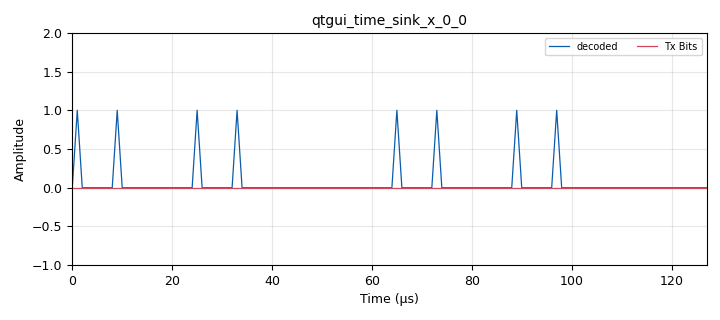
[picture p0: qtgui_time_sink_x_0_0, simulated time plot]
options:
  parameters:
    author: iar
    generate_options: qt_gui
    id: random_bits
    output_language: python
    title: Random Bits
  states: {}

blocks:
- name: SHA160
  id: variable
  parameters:
    comment: Binary of SHA1-160 bits(I am a leigitimate device)
    value: '[1,0,1,1,0,1,1,0,1,1,1,1,1,1,0,0,1,0,1,1,0,1,0,1,1,1,1,0,1,0,1,1,0,1,1,0,1,1,1,1,1,1,0,1,0,1,1,1,0,1,0,1,1,1,1,1,1,0,0,1,1,0,0,0,0,0,0,0,0,1,0,1,0,1,1,1,1,1,0,0,0,1,0,1,1,1,0,1,1,0,0,0,1,1,0,0,1,1,1,1,1,1,0,1,1,1,0,0,1,0,0,0,0,1,0,0,0,0,0,0,1,1,0,0,0,0,0,1,0,1,1,1,0,1,0,1,0,0,1,0,0,0,1,1,1,0,1,1,0,0,0,1,1,0,1,1,0,0,0,1]'
  states: {}
- name: SHA160_10
  id: variable
  parameters:
    comment: Binary of SHA1-160 bits(I am a leigitimate device)
    value: '[1,0,1,1,1,1,1,0,1,1,1,1,1,1,0,0,1,0,1,1,0,1,0,1,1,1,1,0,1,0,1,1,0,1,1,0,1,1,1,1,1,1,0,1,0,1,1,1,0,1,0,1,1,1,1,1,1,0,0,1,1,0,1,0,0,0,0,1,0,1,0,1,0,1,1,1,1,1,0,0,0,1,0,1,1,1,0,1,1,0,0,0,1,1,0,0,1,1,1,1,1,1,0,1,1,1,0,0,1,0,0,0,0,1,0,1,0,0,1,0,1,1,0,1,0,0,1,1,0,1,1,1,0,1,0,1,0,0,1,0,1,0,1,1,1,0,1,1,0,0,0,1,1,0,1,1,0,1,1,1]'
  states: {}
- name: SHA160_160
  id: variable
  parameters:
    comment: Binary of SHA1-160 bits(I am a leigitimate device)
    value: '[0]*100+[1]*30+[0]*30'
  states: {}
- name: SHA160_20
  id: variable
  parameters:
    comment: Binary of SHA1-160 bits(I am a leigitimate device)
    value: '[1,0,1,1,0,1,1,1,1,1,1,1,1,1,1,1,1,0,1,1,0,1,0,1,1,1,1,0,1,1,1,1,0,1,1,1,1,1,1,1,1,1,1,1,0,1,1,1,0,1,0,1,1,1,1,1,1,0,1,1,1,0,1,1,0,1,1,0,0,1,0,1,0,1,1,1,1,1,0,1,0,1,0,1,1,1,0,1,1,0,1,0,1,1,0,1,1,1,1,1,1,1,0,1,1,1,0,0,1,0,1,1,0,1,0,0,1,0,1,0,1,1,0,1,0,1,0,1,0,1,1,1,0,1,0,1,0,0,1,0,0,0,1,1,1,0,1,1,0,0,0,1,1,0,1,1,0,0,0,1]'
  states: {}
- name: SHA160_30
  id: variable
  parameters:
    comment: Binary of SHA1-160 bits(I am a leigitimate device)
    value: '[1,1,1,1,1,1,1,1,1,1,1,1,1,1,0,1,1,0,1,1,0,1,0,1,1,1,1,0,1,1,1,1,0,1,1,0,1,1,1,1,1,1,0,1,0,1,1,1,0,1,0,1,1,1,1,1,1,0,1,1,1,0,1,0,1,1,1,1,0,1,0,1,0,1,1,1,1,1,0,1,0,1,0,1,1,1,0,1,1,1,1,0,1,1,0,1,1,1,1,1,1,1,0,1,1,1,1,0,1,0,1,1,0,1,0,1,1,1,1,0,1,1,1,1,0,1,0,1,0,1,1,1,0,1,0,1,0,0,1,1,0,1,1,1,1,0,1,1,0,1,0,1,1,0,1,1,1,0,1,1]'
  states: {}
- name: arity
  id: variable
  parameters:
    value: '4'
  states: {}
- name: centerfreq
  id: variable
  parameters:
    value: 2.4e9
  states: {}
- name: data
  id: variable
  parameters:
    comment: Binary of SHA256(I am a leigitimate device)
    value: '[0]*4+[1,0,1,0]'
  states: {}
- name: delay
  id: variable_qtgui_range
  parameters:
    label: Delay
    start: '0'
    step: '1'
    stop: '200'
    value: '0'
  states: {}
- name: excess_bw
  id: variable
  parameters:
    value: '0.35'
  states: {}
- name: nfilts
  id: variable
  parameters:
    value: '32'
  states: {}
- name: phase_bw
  id: variable_qtgui_range
  parameters:
    label: 'Phase: Bandwidth'
    start: '0.0'
    step: '0.01'
    stop: '1.0'
    value: 6.28/100.0
    widget: slider
  states: {}
- name: preamble
  id: variable
  parameters:
    value: '[0]*50+[0x70, 0x72, 0x65, 0x61, 0x6D, 0x62, 0x6C, 0x65]'
  states: {}
- name: qam_16
  id: variable_constellation
  parameters:
    precision: '8'
    type: 16qam
  states: {}
- name: qpsk
  id: variable_constellation_rect
  parameters:
    const_points: '[0.707+0.707j, -0.707+0.707j, -0.707-0.707j, 0.707-0.707j]'
    imag_sect: '2'
    real_sect: '2'
    rot_sym: '4'
    sym_map: '[0, 1, 2, 3]'
    w_imag_sect: '1'
    w_real_sect: '1'
  states: {}
- name: rrc_taps
  id: variable
  parameters:
    value: firdes.root_raised_cosine(nfilts, nfilts, 1.0/float(sps), 0.35, 11*sps*nfilts)
  states: {}
- name: samp_rate
  id: variable
  parameters:
    value: 1e6
  states: {}
- name: sps
  id: variable
  parameters:
    value: '4'
  states: {}
- name: tag
  id: variable_tag_object
  parameters:
    key: pmt.intern("key")
    offset: '0'
    src: pmt.intern("src")
    value: pmt.intern("value")
  states: {}
- name: timing_loop_bw
  id: variable_qtgui_range
  parameters:
    label: 'Time: BW'
    start: '0.0'
    step: '0.01'
    stop: '0.2'
    value: 6.28/100.0
    widget: slider
  states: {}
- name: variable_adaptive_algorithm
  id: variable_adaptive_algorithm
  parameters:
    cons: qpsk
    modulus: '4'
    step_size: '.0001'
    type: cma
  states: {}
- name: blocks_char_to_float_0_0
  id: blocks_char_to_float
  parameters:
    scale: '1'
  states: {}
- name: blocks_char_to_float_0_0_0
  id: blocks_char_to_float
  parameters:
    scale: '1'
  states: {}
- name: blocks_delay_0
  id: blocks_delay
  parameters:
    delay: int(delay)
    type: float
  states: {state: disabled}
- name: blocks_file_sink_0
  id: blocks_file_sink
  parameters:
    file: /home/iar/Desktop/XXC_In-Band-USRP/Attacker_TX_RX/XXC/Constellation/Data/0719/change_160
    type: float
  states: {}
- name: blocks_file_sink_0_0
  id: blocks_file_sink
  parameters:
    file: /home/iar/Desktop/XXC_In-Band-USRP/Attacker_TX_RX/XXC/Constellation/Data/0719/original
    type: float
  states: {}
- name: blocks_file_source_0
  id: blocks_file_source
  parameters:
    file: /home/iar/Desktop/XXC_In-Band-USRP/Attacker_TX_RX/XXC/Constellation/Data/0719/D5_total
    repeat: 'False'
    type: complex
  states: {state: disabled}
- name: blocks_file_source_0_0
  id: blocks_file_source
  parameters:
    file: /home/iar/Desktop/XXC_In-Band-USRP/Attacker_TX_RX/XXC/Constellation/Data/0719/D5_TX
    repeat: 'False'
    type: complex
  states: {state: disabled}
- name: blocks_unpack_k_bits_bb_0
  id: blocks_unpack_k_bits_bb
  parameters:
    k: '2'
  states: {state: disabled}
- name: blocks_unpack_k_bits_bb_0_0
  id: blocks_unpack_k_bits_bb
  parameters:
    k: '8'
  states: {}
- name: blocks_unpack_k_bits_bb_0_0_0
  id: blocks_unpack_k_bits_bb
  parameters:
    k: '8'
  states: {}
- name: blocks_unpack_k_bits_bb_0_1
  id: blocks_unpack_k_bits_bb
  parameters:
    k: '2'
  states: {state: disabled}
- name: blocks_vector_source_x_0_0
  id: blocks_vector_source_x
  parameters:
    comment: 'TX: transmitting bit'
    repeat: 'False'
    type: byte
    vector: preamble+SHA160
  states: {}
- name: blocks_vector_source_x_0_0_0
  id: blocks_vector_source_x
  parameters:
    comment: 'TX: transmitting bit'
    repeat: 'False'
    type: byte
    vector: preamble+SHA160_160
  states: {}
- name: digital_constellation_receiver_cb_0
  id: digital_constellation_receiver_cb
  parameters:
    constellation: qpsk
    fmax: '0'
    fmin: '0'
    loop_bw: excess_bw
  states: {state: disabled}
- name: digital_constellation_receiver_cb_0_0
  id: digital_constellation_receiver_cb
  parameters:
    constellation: qpsk
    fmax: '0'
    fmin: '0'
    loop_bw: excess_bw
  states: {state: disabled}
- name: digital_diff_decoder_bb_0
  id: digital_diff_decoder_bb
  parameters:
    coding: digital.DIFF_DIFFERENTIAL
    modulus: '4'
  states: {state: disabled}
- name: digital_diff_decoder_bb_0_0
  id: digital_diff_decoder_bb
  parameters:
    coding: digital.DIFF_DIFFERENTIAL
    modulus: '4'
  states: {state: disabled}
- name: digital_map_bb_0
  id: digital_map_bb
  parameters:
    map: '[0,1,2,3]'
  states: {state: disabled}
- name: digital_map_bb_0_0
  id: digital_map_bb
  parameters:
    map: '[0,1,2,3]'
  states: {state: disabled}
- name: import_0
  id: import
  parameters:
    imports: import math
  states: {}
- name: note_0
  id: note
  parameters:
    comment: |-
      The CMA equalizer has been
      replaced by a Linear Equalizer
      and an Adaptive Algorithm for
      version 3.9
    note: CMA equalizer replaced
  states: {}
- name: qtgui_const_sink_x_0_0
  id: qtgui_const_sink_x
  parameters:
    size: '1024'
    type: complex
  states: {state: disabled}
- name: qtgui_const_sink_x_0_0_0
  id: qtgui_const_sink_x
  parameters:
    size: '1024'
    type: complex
  states: {state: disabled}
- name: qtgui_time_sink_x_0_0
  id: qtgui_time_sink_x
  parameters:
    gui_hint: 2,1,1,1
    label1: decoded
    label2: Tx Bits
    name: ''
    nconnections: '2'
    size: '128'
    srate: samp_rate
    tr_mode: qtgui.TRIG_MODE_AUTO
    type: float
    ymax: '2'
  states: {}

connections:
- [blocks_char_to_float_0_0, '0', blocks_file_sink_0_0, '0']
- [blocks_char_to_float_0_0, '0', qtgui_time_sink_x_0_0, '0']
- [blocks_char_to_float_0_0_0, '0', blocks_delay_0, '0']
- [blocks_char_to_float_0_0_0, '0', blocks_file_sink_0, '0']
- [blocks_char_to_float_0_0_0, '0', qtgui_time_sink_x_0_0, '1']
- [blocks_delay_0, '0', qtgui_time_sink_x_0_0, '1']
- [blocks_file_source_0, '0', digital_constellation_receiver_cb_0, '0']
- [blocks_file_source_0, '0', qtgui_const_sink_x_0_0, '0']
- [blocks_file_source_0_0, '0', digital_constellation_receiver_cb_0_0, '0']
- [blocks_file_source_0_0, '0', qtgui_const_sink_x_0_0_0, '0']
- [blocks_unpack_k_bits_bb_0, '0', blocks_char_to_float_0_0, '0']
- [blocks_unpack_k_bits_bb_0_0, '0', blocks_char_to_float_0_0, '0']
- [blocks_unpack_k_bits_bb_0_0_0, '0', blocks_char_to_float_0_0_0, '0']
- [blocks_unpack_k_bits_bb_0_1, '0', blocks_char_to_float_0_0_0, '0']
- [blocks_vector_source_x_0_0, '0', blocks_unpack_k_bits_bb_0_0, '0']
- [blocks_vector_source_x_0_0_0, '0', blocks_unpack_k_bits_bb_0_0_0, '0']
- [digital_constellation_receiver_cb_0, '0', digital_diff_decoder_bb_0, '0']
- [digital_constellation_receiver_cb_0_0, '0', digital_diff_decoder_bb_0_0, '0']
- [digital_diff_decoder_bb_0, '0', digital_map_bb_0, '0']
- [digital_diff_decoder_bb_0_0, '0', digital_map_bb_0_0, '0']
- [digital_map_bb_0, '0', blocks_unpack_k_bits_bb_0, '0']
- [digital_map_bb_0_0, '0', blocks_unpack_k_bits_bb_0_1, '0']

metadata:
  file_format: 1
